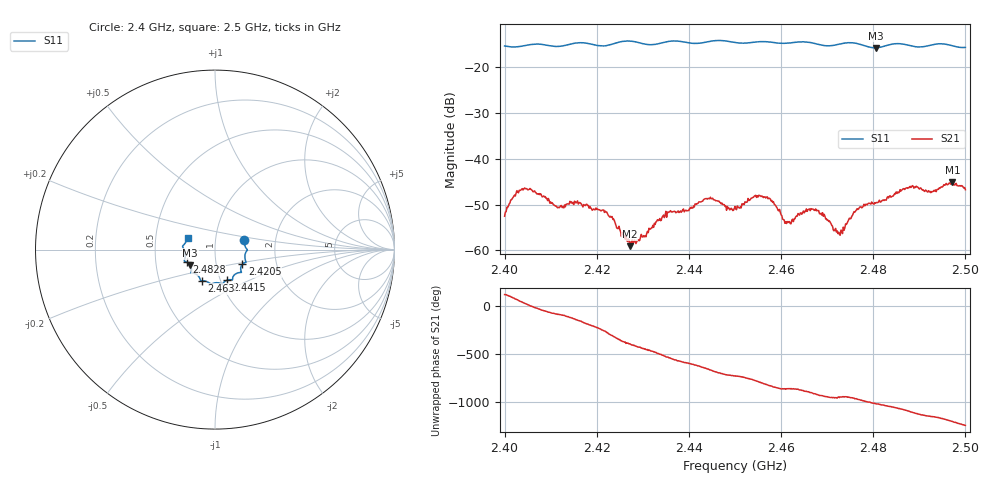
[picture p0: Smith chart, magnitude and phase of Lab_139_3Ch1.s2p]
# Hz S RI R 50
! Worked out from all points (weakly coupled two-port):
!   601 points, 2.4 GHz to 2.5 GHz, reference 50 ohm
!   highest |S21| = -45.16 dB at 2.4972 GHz (marker M1); lowest = -59.1 dB at 2.4272 GHz (marker M2)
!   lowest |S11| = -15.7 dB at 2.4805 GHz (marker M3), VSWR 1.39, Z = 37.3 - j6.7 ohm
!   |S11| at or under -10 dB: start of sweep to end of sweep
!   S12 and S22 are empty: the file has one direction only
!   S11 on the Smith chart (normalised r, x): 2.4 GHz: 1.38, +0.15; 2.4205 GHz: 1.34, -0.23; 2.4415 GHz: 1.07, -0.38; 2.463 GHz: 0.82, -0.29; 2.4828 GHz: 0.72, -0.10; 2.5 GHz: 0.73, +0.10
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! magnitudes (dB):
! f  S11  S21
! 2.4 GHz  -15.3  -52.6
! 2.4042 GHz  -15.3  -46.6
! 2.4115 GHz  -15.4  -50.7
! 2.4167 GHz  -14.6  -49.9
! 2.4205 GHz  -15.2  -51.1
! 2.4272 GHz  -14.2  -59.1
! 2.4333 GHz  -14.8  -53.5
! 2.4415 GHz  -14.8  -49.9
! 2.4447 GHz  -14.3  -48.4
! 2.45 GHz  -14.5  -50.4
! 2.4557 GHz  -14.3  -48.2
! 2.4578 GHz  -14.5  -49.2
! 2.461 GHz  -14.7  -53.7
! 2.463 GHz  -14.5  -53.1
! 2.4667 GHz  -14.6  -51.0
! 2.4728 GHz  -14.9  -56.7
! 2.4767 GHz  -14.8  -51.1
! 2.4805 GHz  -15.7  -49.7
! 2.4828 GHz  -15.2  -49.0
! 2.4833 GHz  -15.1  -48.5
! 2.4972 GHz  -15.3  -45.2
! 2.5 GHz  -15.6  -46.7
